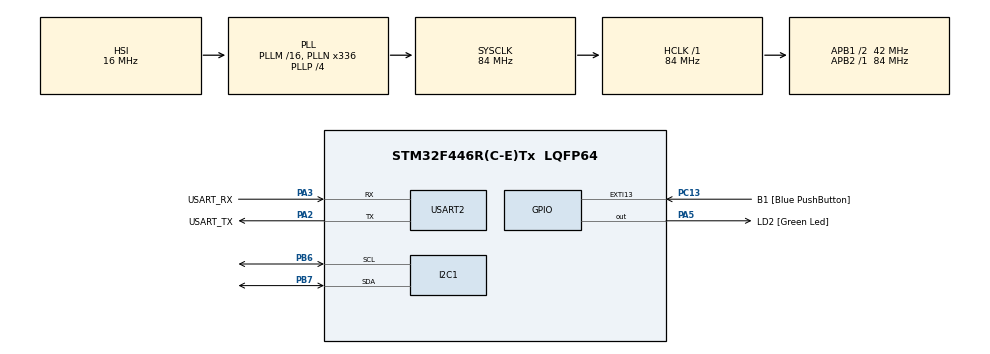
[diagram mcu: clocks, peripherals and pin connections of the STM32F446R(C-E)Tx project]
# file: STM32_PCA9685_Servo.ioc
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Mcu.Family=STM32F4
Mcu.Name=STM32F446R(C-E)Tx
Mcu.Package=LQFP64
NVIC.PriorityGroup=NVIC_PRIORITYGROUP_0
PA13.GPIO_Label=TMS
PA13.Mode=Serial_Wire
PA13.Signal=SYS_JTMS-SWDIO
PA14.GPIO_Label=TCK
PA14.Mode=Serial_Wire
PA14.Signal=SYS_JTCK-SWCLK
PA2.GPIO_Label=USART_TX
PA2.Mode=Asynchronous
PA2.Signal=USART2_TX
PA3.GPIO_Label=USART_RX
PA3.Mode=Asynchronous
PA3.Signal=USART2_RX
PA5.GPIO_Label=LD2 [Green Led]
PA5.Signal=GPIO_Output
PB3.GPIO_Label=SWO
PB3.Signal=SYS_JTDO-SWO
PB6.Mode=I2C
PB6.Signal=I2C1_SCL
PB7.Mode=I2C
PB7.Signal=I2C1_SDA
PC13.GPIO_Label=B1 [Blue PushButton]
PC13.GPIO_ModeDefaultEXTI=GPIO_MODE_IT_FALLING
PC13.Signal=GPXTI13
PC14-OSC32_IN.Mode=LSE-External-Oscillator
PC14-OSC32_IN.Signal=RCC_OSC32_IN
PC15-OSC32_OUT.Mode=LSE-External-Oscillator
PC15-OSC32_OUT.Signal=RCC_OSC32_OUT
PH0-OSC_IN.Mode=HSE-External-Oscillator
PH0-OSC_IN.Signal=RCC_OSC_IN
PH1-OSC_OUT.Mode=HSE-External-Oscillator
PH1-OSC_OUT.Signal=RCC_OSC_OUT
ProjectManager.HeapSize=0x200
ProjectManager.StackSize=0x400
ProjectManager.TargetToolchain=STM32CubeIDE
RCC.48MHZClocksFreq_Value=84000000
RCC.AHBFreq_Value=84000000
RCC.APB1CLKDivider=RCC_HCLK_DIV2
RCC.APB1Freq_Value=42000000
RCC.APB1TimFreq_Value=84000000
RCC.APB2Freq_Value=84000000
RCC.APB2TimFreq_Value=84000000
RCC.CortexFreq_Value=84000000
RCC.FLatency-AdvancedSettings=FLASH_LATENCY_2
RCC.HCLKFreq_Value=84000000
RCC.HSE_VALUE=8000000
RCC.HSI_VALUE=16000000
RCC.PLLN=336
RCC.PLLP=RCC_PLLP_DIV4
RCC.SYSCLKFreq_VALUE=84000000
RCC.SYSCLKSource=RCC_SYSCLKSOURCE_PLLCLK
RCC.USBFreq_Value=168000000
RCC.VCOOutputFreq_Value=336000000
USART2.VirtualMode=VM_ASYNC
board=NUCLEO-F446RE

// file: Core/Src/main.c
/* USER CODE BEGIN Header */
/**
 ******************************************************************************
 * @file           : main.c
 * @brief          : Main program body
 ******************************************************************************
 * @attention
 *
 * Copyright (c) 2025 STMicroelectronics.
 * All rights reserved.
 *
 * This software is licensed under terms that can be found in the LICENSE file
 * in the root directory of this software component.
 * If no LICENSE file comes with this software, it is provided AS-IS.
 *
 * Created on: January 16, 2025
 * Author: Sabboshachi Sarkar
 *
 ******************************************************************************
 */
/* USER CODE END Header */
#include "main.h"

I2C_HandleTypeDef hi2c1;

UART_HandleTypeDef huart2;

void SystemClock_Config(void);
static void MX_GPIO_Init(void);
static void MX_USART2_UART_Init(void);
static void MX_I2C1_Init(void);

/* USER CODE BEGIN 0 */

#define PCA9685_ADDRESS 0x80
// Datasheet link --> https://cdn-shop.adafruit.com/datasheets/PCA9685.pdf
#define PCA9685_MODE1         0x0         // as in the datasheet page no 10/52
#define PCA9685_PRE_SCALE     0xFE        // as in the datasheet page no 13/52
#define PCA9685_LED0_ON_L     0x6         // as in the datasheet page no 10/52
#define PCA9685_MODE1_SLEEP_BIT      4    // as in the datasheet page no 14/52
#define PCA9685_MODE1_AI_BIT         5    // as in the datasheet page no 14/52
#define PCA9685_MODE1_RESTART_BIT    7    // as in the datasheet page no 14/52

int16_t g_joint_angles[6] = {157, 139, 24, 107, 22, 5}; // Set Initial Angle (Point A)

void PCA9685_SetBit(uint8_t Register, uint8_t Bit, uint8_t Value) {
	uint8_t readValue;
	// Read all 8 bits and set only one bit to 0/1 and write all 8 bits back
	HAL_I2C_Mem_Read(&hi2c1, PCA9685_ADDRESS, Register, 1, &readValue, 1, 10);
	if (Value == 0)
		readValue &= ~(1 << Bit);
	else
		readValue |= (1 << Bit);
	HAL_I2C_Mem_Write(&hi2c1, PCA9685_ADDRESS, Register, 1, &readValue, 1, 10);
	HAL_Delay(1);
}

void PCA9685_SetPWMFrequency(uint16_t frequency) {
	uint8_t prescale;
	if (frequency >= 1526)
		prescale = 0x03;
	else if (frequency <= 24)
		prescale = 0xFF;
	//  internal 25 MHz oscillator as in the datasheet page no 1/52
	else
		prescale = 25000000 / (4096 * frequency);
	// prescale changes 3 to 255 for 1526Hz to 24Hz as in the datasheet page no 1/52
	PCA9685_SetBit(PCA9685_MODE1, PCA9685_MODE1_SLEEP_BIT, 1);
	HAL_I2C_Mem_Write(&hi2c1, PCA9685_ADDRESS, PCA9685_PRE_SCALE, 1, &prescale,
			1, 10);
	PCA9685_SetBit(PCA9685_MODE1, PCA9685_MODE1_SLEEP_BIT, 0);
	PCA9685_SetBit(PCA9685_MODE1, PCA9685_MODE1_RESTART_BIT, 1);
}

void PCA9685_Init(uint16_t frequency) {
	PCA9685_SetPWMFrequency(frequency); // 50 Hz for servo
	PCA9685_SetBit(PCA9685_MODE1, PCA9685_MODE1_AI_BIT, 1);
}

void PCA9685_SetPWM(uint8_t Channel, uint16_t OnTime, uint16_t OffTime) {
	uint8_t registerAddress;
	uint8_t pwm[4];
	registerAddress = PCA9685_LED0_ON_L + (4 * Channel);
	// See example 1 in the datasheet page no 18/52
	pwm[0] = OnTime & 0xFF;
	pwm[1] = OnTime >> 8;
	pwm[2] = OffTime & 0xFF;
	pwm[3] = OffTime >> 8;
	HAL_I2C_Mem_Write(&hi2c1, PCA9685_ADDRESS, registerAddress, 1, pwm, 4, 10);
}

void PCA9685_SetServoAngle(uint8_t Channel, float Angle) {
	float Value;
	// 50 Hz servo then 4095 Value --> 20 milliseconds
	// 0 degree --> 0.5 ms(102.4 Value) and 180 degree --> 2.5 ms(511.9 Value)
	Value = (Angle * (511.9 - 102.4) / 180.0) + 102.4;
	PCA9685_SetPWM(Channel, 0, (uint16_t) Value);
}

/* USER CODE END 0 */

int main(void) {

	/* MCU Configuration--------------------------------------------------------*/

	/* Reset of all peripherals, Initializes the Flash interface and the Systick. */
	HAL_Init();

	/* Configure the system clock */
	SystemClock_Config();

	/* Initialize all configured peripherals */
	MX_GPIO_Init();
	MX_USART2_UART_Init();
	MX_I2C1_Init();

	/* USER CODE BEGIN 2 */

	PCA9685_Init(50); // 50Hz for servo

	/* USER CODE END 2 */

	/* Infinite loop */
	while (1) {

		/* USER CODE BEGIN 3 */

		//****************************************** Parallel Movement 20 Step From A to B (Skeleton_App Input Angle) *************************************** //

		PCA9685_SetServoAngle(5, g_joint_angles[0]);// 157 > 37
		PCA9685_SetServoAngle(7, g_joint_angles[1]); // 139 > 99
		PCA9685_SetServoAngle(9, g_joint_angles[2]); // 24 > 64
		PCA9685_SetServoAngle(11, g_joint_angles[3]); // 107 > 47
		PCA9685_SetServoAngle(13, g_joint_angles[4]); // 22 > 150
		PCA9685_SetServoAngle(15, g_joint_angles[5]); // 5 > 85

		HAL_Delay(2000);

		uint16_t point_count = 20;

		for (int i = 0; i < point_count; i++) {

			g_joint_angles[0] = g_joint_angles[0] - 6;
			g_joint_angles[1] = g_joint_angles[1] - 2;
			g_joint_angles[2] = g_joint_angles[2] + 2;
			g_joint_angles[3] = g_joint_angles[3] - 3;
			g_joint_angles[4] = g_joint_angles[4] + 6;
			g_joint_angles[5] = g_joint_angles[5] + 6;

			PCA9685_SetServoAngle(5, g_joint_angles[0]);
			PCA9685_SetServoAngle(7, g_joint_angles[1]);
			PCA9685_SetServoAngle(9, g_joint_angles[2]);
			PCA9685_SetServoAngle(11, g_joint_angles[3]);
			PCA9685_SetServoAngle(13, g_joint_angles[4]);
			PCA9685_SetServoAngle(15, g_joint_angles[5]);

			HAL_Delay(100);
		}

		HAL_Delay(3000);

		for (int i = 0; i < point_count; i++) {

			g_joint_angles[0] = g_joint_angles[0] + 6;
			g_joint_angles[1] = g_joint_angles[1] + 2;
			g_joint_angles[2] = g_joint_angles[2] - 2;
			g_joint_angles[3] = g_joint_angles[3] + 3;
			g_joint_angles[4] = g_joint_angles[4] - 6;
			g_joint_angles[5] = g_joint_angles[5] - 6;

			PCA9685_SetServoAngle(5, g_joint_angles[0]);
			PCA9685_SetServoAngle(7, g_joint_angles[1]);
			PCA9685_SetServoAngle(9, g_joint_angles[2]);
			PCA9685_SetServoAngle(11, g_joint_angles[3]);
			PCA9685_SetServoAngle(13, g_joint_angles[4]);
			PCA9685_SetServoAngle(15, g_joint_angles[5]);

			HAL_Delay(100);
		}
		HAL_Delay(3000);

	//****************************************************************************************************************************** //
	}
	/* USER CODE END 3 */
}

void SystemClock_Config(void) {
	RCC_OscInitTypeDef RCC_OscInitStruct = { 0 };
	RCC_ClkInitTypeDef RCC_ClkInitStruct = { 0 };

	/** Configure the main internal regulator output voltage
	 */
	__HAL_RCC_PWR_CLK_ENABLE();
	__HAL_PWR_VOLTAGESCALING_CONFIG(PWR_REGULATOR_VOLTAGE_SCALE3);

	/** Initializes the RCC Oscillators according to the specified parameters
	 * in the RCC_OscInitTypeDef structure.
	 */
	RCC_OscInitStruct.OscillatorType = RCC_OSCILLATORTYPE_HSI;
	RCC_OscInitStruct.HSIState = RCC_HSI_ON;
	RCC_OscInitStruct.HSICalibrationValue = RCC_HSICALIBRATION_DEFAULT;
	RCC_OscInitStruct.PLL.PLLState = RCC_PLL_ON;
	RCC_OscInitStruct.PLL.PLLSource = RCC_PLLSOURCE_HSI;
	RCC_OscInitStruct.PLL.PLLM = 16;
	RCC_OscInitStruct.PLL.PLLN = 336;
	RCC_OscInitStruct.PLL.PLLP = RCC_PLLP_DIV4;
	RCC_OscInitStruct.PLL.PLLQ = 2;
	RCC_OscInitStruct.PLL.PLLR = 2;
	if (HAL_RCC_OscConfig(&RCC_OscInitStruct) != HAL_OK) {
		Error_Handler();
	}

	/** Initializes the CPU, AHB and APB buses clocks
	 */
	RCC_ClkInitStruct.ClockType = RCC_CLOCKTYPE_HCLK | RCC_CLOCKTYPE_SYSCLK
			| RCC_CLOCKTYPE_PCLK1 | RCC_CLOCKTYPE_PCLK2;
	RCC_ClkInitStruct.SYSCLKSource = RCC_SYSCLKSOURCE_PLLCLK;
	RCC_ClkInitStruct.AHBCLKDivider = RCC_SYSCLK_DIV1;
	RCC_ClkInitStruct.APB1CLKDivider = RCC_HCLK_DIV2;
	RCC_ClkInitStruct.APB2CLKDivider = RCC_HCLK_DIV1;

	if (HAL_RCC_ClockConfig(&RCC_ClkInitStruct, FLASH_LATENCY_2) != HAL_OK) {
		Error_Handler();
	}
}

static void MX_I2C1_Init(void) {

	hi2c1.Instance = I2C1;
	hi2c1.Init.ClockSpeed = 100000;
	hi2c1.Init.DutyCycle = I2C_DUTYCYCLE_2;
	hi2c1.Init.OwnAddress1 = 0;
	hi2c1.Init.AddressingMode = I2C_ADDRESSINGMODE_7BIT;
	hi2c1.Init.DualAddressMode = I2C_DUALADDRESS_DISABLE;
	hi2c1.Init.OwnAddress2 = 0;
	hi2c1.Init.GeneralCallMode = I2C_GENERALCALL_DISABLE;
	hi2c1.Init.NoStretchMode = I2C_NOSTRETCH_DISABLE;
	if (HAL_I2C_Init(&hi2c1) != HAL_OK) {
		Error_Handler();
	}

}

static void MX_USART2_UART_Init(void) {

	huart2.Instance = USART2;
	huart2.Init.BaudRate = 115200;
	huart2.Init.WordLength = UART_WORDLENGTH_8B;
	huart2.Init.StopBits = UART_STOPBITS_1;
	huart2.Init.Parity = UART_PARITY_NONE;
	huart2.Init.Mode = UART_MODE_TX_RX;
	huart2.Init.HwFlowCtl = UART_HWCONTROL_NONE;
	huart2.Init.OverSampling = UART_OVERSAMPLING_16;
	if (HAL_UART_Init(&huart2) != HAL_OK) {
		Error_Handler();
	}

}

static void MX_GPIO_Init(void) {
	GPIO_InitTypeDef GPIO_InitStruct = { 0 };

	/* GPIO Ports Clock Enable */
	__HAL_RCC_GPIOC_CLK_ENABLE();
	__HAL_RCC_GPIOH_CLK_ENABLE();
	__HAL_RCC_GPIOA_CLK_ENABLE();
	__HAL_RCC_GPIOB_CLK_ENABLE();

	/*Configure GPIO pin Output Level */
	HAL_GPIO_WritePin(LD2_GPIO_Port, LD2_Pin, GPIO_PIN_RESET);

	/*Configure GPIO pin : B1_Pin */
	GPIO_InitStruct.Pin = B1_Pin;
	GPIO_InitStruct.Mode = GPIO_MODE_IT_FALLING;
	GPIO_InitStruct.Pull = GPIO_NOPULL;
	HAL_GPIO_Init(B1_GPIO_Port, &GPIO_InitStruct);

	/*Configure GPIO pin : LD2_Pin */
	GPIO_InitStruct.Pin = LD2_Pin;
	GPIO_InitStruct.Mode = GPIO_MODE_OUTPUT_PP;
	GPIO_InitStruct.Pull = GPIO_NOPULL;
	GPIO_InitStruct.Speed = GPIO_SPEED_FREQ_LOW;
	HAL_GPIO_Init(LD2_GPIO_Port, &GPIO_InitStruct);

}

void Error_Handler(void) {
	__disable_irq();
	while (1) {
	}
}
